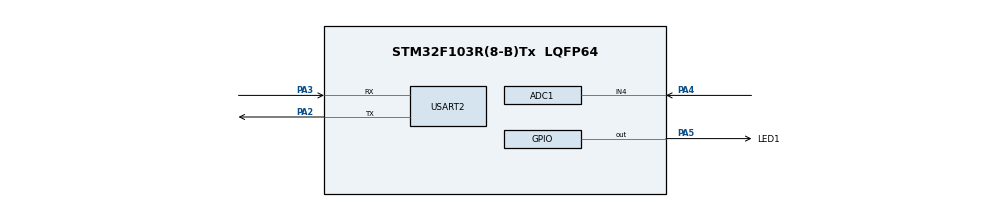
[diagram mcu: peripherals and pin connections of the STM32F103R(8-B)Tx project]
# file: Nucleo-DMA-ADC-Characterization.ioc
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ADC1.Channel-0\#ChannelRegularConversion=ADC_CHANNEL_4
ADC1.ContinuousConvMode=DISABLE
ADC1.ExternalTrigConv=ADC_EXTERNALTRIGCONV_T3_TRGO
ADC1.NbrOfConversion=1
ADC1.NbrOfConversionFlag=1
ADC1.Rank-0\#ChannelRegularConversion=1
ADC1.SamplingTime-0\#ChannelRegularConversion=ADC_SAMPLETIME_1CYCLE_5
ADC1.master=1
Dma.ADC1.0.Direction=DMA_PERIPH_TO_MEMORY
Dma.ADC1.0.Instance=DMA1_Channel1
Dma.ADC1.0.MemDataAlignment=DMA_MDATAALIGN_HALFWORD
Dma.ADC1.0.MemInc=DMA_MINC_ENABLE
Dma.ADC1.0.Mode=DMA_CIRCULAR
Dma.ADC1.0.PeriphDataAlignment=DMA_PDATAALIGN_HALFWORD
Dma.ADC1.0.PeriphInc=DMA_PINC_DISABLE
Dma.ADC1.0.Priority=DMA_PRIORITY_LOW
Dma.Request0=ADC1
Mcu.Family=STM32F1
Mcu.Name=STM32F103R(8-B)Tx
Mcu.Package=LQFP64
NVIC.DMA1_Channel1_IRQn=true\:0\:0\:false\:false\:true\:false\:true\:true
NVIC.PriorityGroup=NVIC_PRIORITYGROUP_4
PA13.Mode=Serial_Wire
PA13.Signal=SYS_JTMS-SWDIO
PA14.Mode=Serial_Wire
PA14.Signal=SYS_JTCK-SWCLK
PA2.Mode=Asynchronous
PA2.Signal=USART2_TX
PA3.Mode=Asynchronous
PA3.Signal=USART2_RX
PA4.Signal=ADCx_IN4
PA5.GPIO_Label=LED1
PA5.Signal=GPIO_Output
ProjectManager.HeapSize=0x200
ProjectManager.StackSize=0x400
ProjectManager.TargetToolchain=STM32CubeIDE
RCC.APB1Freq_Value=8000000
RCC.APB2Freq_Value=8000000
SH.ADCx_IN4.0=ADC1_IN4,IN4
TIM3.AutoReloadPreload=TIM_AUTORELOAD_PRELOAD_ENABLE
TIM3.ClockDivision=TIM_CLOCKDIVISION_DIV1
TIM3.Period=1
TIM3.Prescaler=12000-1
TIM3.TIM_MasterOutputTrigger=TIM_TRGO_UPDATE
USART2.VirtualMode=VM_ASYNC
VP_TIM3_VS_ClockSourceINT.Mode=Internal
board=custom

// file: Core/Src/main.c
/* USER CODE BEGIN Header */
/**
  ******************************************************************************
  * @file           : main.c
  * @brief          : Main program body
  ******************************************************************************
  * @attention
  *
  * Copyright (c) 2025 STMicroelectronics.
  * All rights reserved.
  *
  * This software is licensed under terms that can be found in the LICENSE file
  * in the root directory of this software component.
  * If no LICENSE file comes with this software, it is provided AS-IS.
  *
  ******************************************************************************
  */
/* USER CODE END Header */
#include "main.h"

ADC_HandleTypeDef hadc1;
DMA_HandleTypeDef hdma_adc1;

TIM_HandleTypeDef htim3;

UART_HandleTypeDef huart2;

void SystemClock_Config(void);
static void MX_GPIO_Init(void);
static void MX_DMA_Init(void);
static void MX_ADC1_Init(void);
static void MX_USART2_UART_Init(void);
static void MX_TIM3_Init(void);

int main(void)
{

  /* MCU Configuration--------------------------------------------------------*/

  /* Reset of all peripherals, Initializes the Flash interface and the Systick. */
  HAL_Init();

  /* Configure the system clock */
  SystemClock_Config();

  /* Initialize all configured peripherals */
  MX_GPIO_Init();
  MX_DMA_Init();
  MX_ADC1_Init();
  MX_USART2_UART_Init();
  MX_TIM3_Init();
  /* USER CODE BEGIN 2 */

  HAL_TIM_Base_Start(&htim3);  // Start the timer
  HAL_ADC_Start_DMA(&hadc1, (uint32_t*)adcBuffer, sizeof(adcBuffer));

  /* USER CODE END 2 */

  /* Infinite loop */
  while (1)
  {

    /* USER CODE BEGIN 3 */

    // This function waits until 's' is received on UART to continue
    // This way, from the Python script we can command the STM32 chip operate only when we tell it to
    Continue_On_UART_Receive(huart2);

	  HAL_GPIO_TogglePin(LED1_GPIO_Port, LED1_Pin); // Toggle the LED high when we're collecting or sending values

    int adcValuesAveraged = 0;
    int adcValuesADCAdjusted = 0;
    int adcValuesCurrentAdjusted = 0;
    Get_Averaged_ADC_Values(&adcValuesAveraged, &adcValuesADCAdjusted, &adcValuesCurrentAdjusted);

    Send_ADC_Values_Over_UART(huart2, adcValuesAveraged, adcValuesADCAdjusted, adcValuesCurrentAdjusted);

	  HAL_GPIO_TogglePin(LED1_GPIO_Port, LED1_Pin);
  }
  /* USER CODE END 3 */
}

void SystemClock_Config(void)
{
  RCC_OscInitTypeDef RCC_OscInitStruct = {0};
  RCC_ClkInitTypeDef RCC_ClkInitStruct = {0};
  RCC_PeriphCLKInitTypeDef PeriphClkInit = {0};

  /** Initializes the RCC Oscillators according to the specified parameters
  * in the RCC_OscInitTypeDef structure.
  */
  RCC_OscInitStruct.OscillatorType = RCC_OSCILLATORTYPE_HSI;
  RCC_OscInitStruct.HSIState = RCC_HSI_ON;
  RCC_OscInitStruct.HSICalibrationValue = RCC_HSICALIBRATION_DEFAULT;
  RCC_OscInitStruct.PLL.PLLState = RCC_PLL_NONE;
  if (HAL_RCC_OscConfig(&RCC_OscInitStruct) != HAL_OK)
  {
    Error_Handler();
  }

  /** Initializes the CPU, AHB and APB buses clocks
  */
  RCC_ClkInitStruct.ClockType = RCC_CLOCKTYPE_HCLK|RCC_CLOCKTYPE_SYSCLK
                              |RCC_CLOCKTYPE_PCLK1|RCC_CLOCKTYPE_PCLK2;
  RCC_ClkInitStruct.SYSCLKSource = RCC_SYSCLKSOURCE_HSI;
  RCC_ClkInitStruct.AHBCLKDivider = RCC_SYSCLK_DIV1;
  RCC_ClkInitStruct.APB1CLKDivider = RCC_HCLK_DIV1;
  RCC_ClkInitStruct.APB2CLKDivider = RCC_HCLK_DIV1;

  if (HAL_RCC_ClockConfig(&RCC_ClkInitStruct, FLASH_LATENCY_0) != HAL_OK)
  {
    Error_Handler();
  }
  PeriphClkInit.PeriphClockSelection = RCC_PERIPHCLK_ADC;
  PeriphClkInit.AdcClockSelection = RCC_ADCPCLK2_DIV2;
  if (HAL_RCCEx_PeriphCLKConfig(&PeriphClkInit) != HAL_OK)
  {
    Error_Handler();
  }
}

static void MX_ADC1_Init(void)
{

  ADC_ChannelConfTypeDef sConfig = {0};

  /** Common config
  */
  hadc1.Instance = ADC1;
  hadc1.Init.ScanConvMode = ADC_SCAN_DISABLE;
  hadc1.Init.ContinuousConvMode = DISABLE;
  hadc1.Init.DiscontinuousConvMode = DISABLE;
  hadc1.Init.ExternalTrigConv = ADC_EXTERNALTRIGCONV_T3_TRGO;
  hadc1.Init.DataAlign = ADC_DATAALIGN_RIGHT;
  hadc1.Init.NbrOfConversion = 1;
  if (HAL_ADC_Init(&hadc1) != HAL_OK)
  {
    Error_Handler();
  }

  /** Configure Regular Channel
  */
  sConfig.Channel = ADC_CHANNEL_4;
  sConfig.Rank = ADC_REGULAR_RANK_1;
  sConfig.SamplingTime = ADC_SAMPLETIME_1CYCLE_5;
  if (HAL_ADC_ConfigChannel(&hadc1, &sConfig) != HAL_OK)
  {
    Error_Handler();
  }

}

static void MX_TIM3_Init(void)
{

  TIM_ClockConfigTypeDef sClockSourceConfig = {0};
  TIM_MasterConfigTypeDef sMasterConfig = {0};

  htim3.Instance = TIM3;
  htim3.Init.Prescaler = 12000-1;
  htim3.Init.CounterMode = TIM_COUNTERMODE_UP;
  htim3.Init.Period = 1;
  htim3.Init.ClockDivision = TIM_CLOCKDIVISION_DIV1;
  htim3.Init.AutoReloadPreload = TIM_AUTORELOAD_PRELOAD_ENABLE;
  if (HAL_TIM_Base_Init(&htim3) != HAL_OK)
  {
    Error_Handler();
  }
  sClockSourceConfig.ClockSource = TIM_CLOCKSOURCE_INTERNAL;
  if (HAL_TIM_ConfigClockSource(&htim3, &sClockSourceConfig) != HAL_OK)
  {
    Error_Handler();
  }
  sMasterConfig.MasterOutputTrigger = TIM_TRGO_UPDATE;
  sMasterConfig.MasterSlaveMode = TIM_MASTERSLAVEMODE_DISABLE;
  if (HAL_TIMEx_MasterConfigSynchronization(&htim3, &sMasterConfig) != HAL_OK)
  {
    Error_Handler();
  }

}

static void MX_USART2_UART_Init(void)
{

  huart2.Instance = USART2;
  huart2.Init.BaudRate = 115200;
  huart2.Init.WordLength = UART_WORDLENGTH_8B;
  huart2.Init.StopBits = UART_STOPBITS_1;
  huart2.Init.Parity = UART_PARITY_NONE;
  huart2.Init.Mode = UART_MODE_TX_RX;
  huart2.Init.HwFlowCtl = UART_HWCONTROL_NONE;
  huart2.Init.OverSampling = UART_OVERSAMPLING_16;
  if (HAL_UART_Init(&huart2) != HAL_OK)
  {
    Error_Handler();
  }

}

static void MX_DMA_Init(void)
{

  /* DMA controller clock enable */
  __HAL_RCC_DMA1_CLK_ENABLE();

  /* DMA interrupt init */
  /* DMA1_Channel1_IRQn interrupt configuration */
  HAL_NVIC_SetPriority(DMA1_Channel1_IRQn, 0, 0);
  HAL_NVIC_EnableIRQ(DMA1_Channel1_IRQn);

}

static void MX_GPIO_Init(void)
{
  GPIO_InitTypeDef GPIO_InitStruct = {0};

  /* GPIO Ports Clock Enable */
  __HAL_RCC_GPIOA_CLK_ENABLE();

  /*Configure GPIO pin Output Level */
  HAL_GPIO_WritePin(LED1_GPIO_Port, LED1_Pin, GPIO_PIN_RESET);

  /*Configure GPIO pin : LED1_Pin */
  GPIO_InitStruct.Pin = LED1_Pin;
  GPIO_InitStruct.Mode = GPIO_MODE_OUTPUT_PP;
  GPIO_InitStruct.Pull = GPIO_NOPULL;
  GPIO_InitStruct.Speed = GPIO_SPEED_FREQ_LOW;
  HAL_GPIO_Init(LED1_GPIO_Port, &GPIO_InitStruct);

}

/* USER CODE BEGIN 4 */

// adc dma half complete callback
// We can't sum in the Get_Averaged_ADC_Values function because DMA would to writing into some part of the buffer at the same time
// REMEMBER!!!! This function might not be allowed to be outside of main.c, so if you run into issues during testing, that's probably it
void HAL_ADC_ConvHalfCpltCallback(ADC_HandleTypeDef* hadc){
  int adcValuesSum = 0;
  for (int i = 0; i < ADC_BUFFER_LENGTH / 2; i++){
    adcValuesSum += adcBuffer[i];
  }
  adcAveragedValue = adcValuesSum / (ADC_BUFFER_LENGTH / 2);
}

// adc dma full complete callback
void HAL_ADC_ConvCpltCallback(ADC_HandleTypeDef* hadc){
  int adcValuesSum = 0;
  for (int i = ADC_BUFFER_LENGTH/2; i < ADC_BUFFER_LENGTH; i++){
    adcValuesSum += adcBuffer[i];
  }
  adcAveragedValue = adcValuesSum / (ADC_BUFFER_LENGTH / 2);
}

/* USER CODE END 4 */

void Error_Handler(void)
{
  __disable_irq();
  while (1)
  {
  }
}
